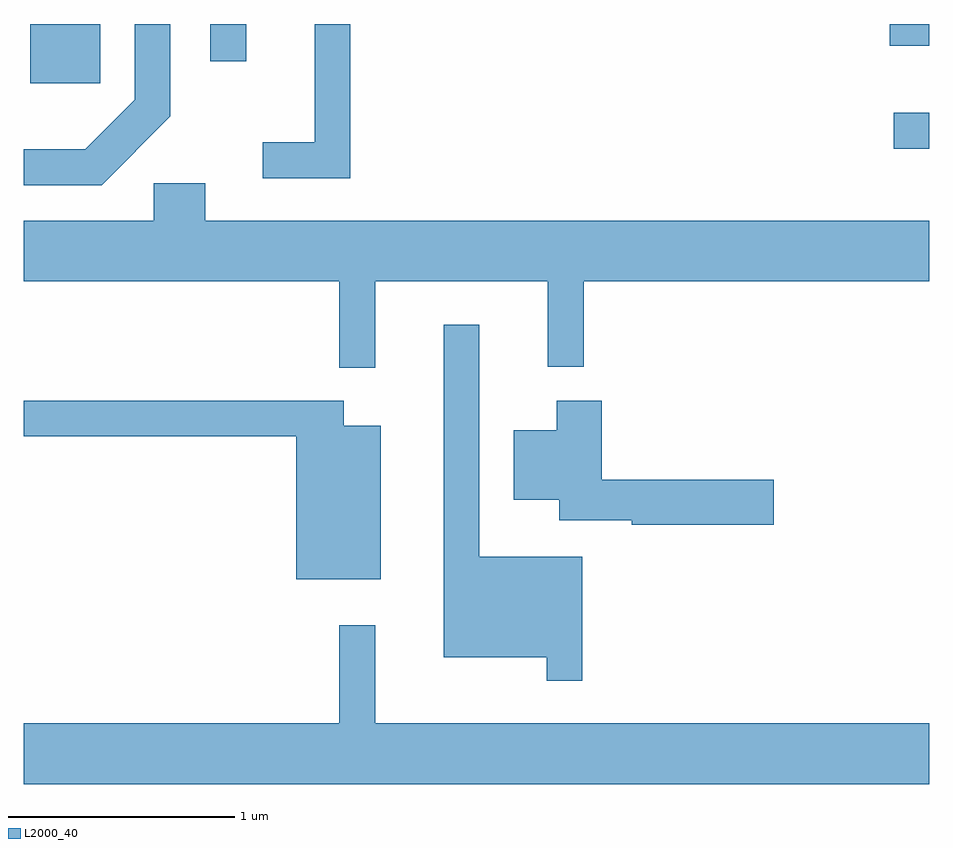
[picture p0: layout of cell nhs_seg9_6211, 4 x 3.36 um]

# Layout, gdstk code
import gdstk
lib = gdstk.Library(unit=1e-6, precision=1e-09)
def R(c, l, rs):  # rectangles x0, y0, x1, y1
    for r in rs: c.add(gdstk.rectangle(r[:2], r[2:], *l))
def P(c, l, *ps):  # polygons
    for p in ps: c.add(gdstk.Polygon(p, *l))
L2000_40 = (2000, 40)

nhs_seg9_6211 = lib.new_cell('nhs_seg9_6211')
R(nhs_seg9_6211, L2000_40, [(371.453,2067.881,371.611,2068.039), (367.641,2068.171,367.949,2068.432), (368.436,2068.268,368.594,2068.432), (371.436,2068.336,371.611,2068.432)])
P(nhs_seg9_6211, L2000_40, [(369.054,2068.432),(368.896,2068.432),(368.896,2067.909),(368.668,2067.909),(368.668,2067.751),(369.054,2067.751)],
  [(368.259,2068.024),(368.259,2068.432),(368.101,2068.432),(368.101,2068.097),(367.884,2067.879),(367.611,2067.879),(367.611,2067.721),(367.957,2067.721)],
  [(368.414,2067.729),(368.186,2067.729),(368.186,2067.564),(367.611,2067.564),(367.611,2067.296),(369.006,2067.296),(369.006,2066.913),(369.164,2066.913),(369.164,2067.296),(369.926,2067.296),(369.926,2066.918),(370.084,2066.918),(370.084,2067.296),(371.611,2067.296),(371.611,2067.564),(368.414,2067.564)],
  [(370.079,2066.079),(369.624,2066.079),(369.624,2067.103),(369.466,2067.103),(369.466,2065.636),(369.921,2065.636),(369.921,2065.533),(370.079,2065.533)],
  [(369.189,2066.659),(369.024,2066.659),(369.024,2066.769),(367.611,2066.769),(367.611,2066.611),(368.816,2066.611),(368.816,2065.981),(369.189,2065.981)],
  [(370.924,2066.419),(370.164,2066.419),(370.164,2066.769),(369.966,2066.769),(369.966,2066.639),(369.776,2066.639),(369.776,2066.331),(369.976,2066.331),(369.976,2066.241),(370.296,2066.241),(370.296,2066.221),(370.924,2066.221)],
  [(371.611,2065.344),(369.164,2065.344),(369.164,2065.778),(369.006,2065.778),(369.006,2065.344),(367.611,2065.344),(367.611,2065.076),(371.611,2065.076)])

lib.write_gds('nhs_seg9_6211.gds')
